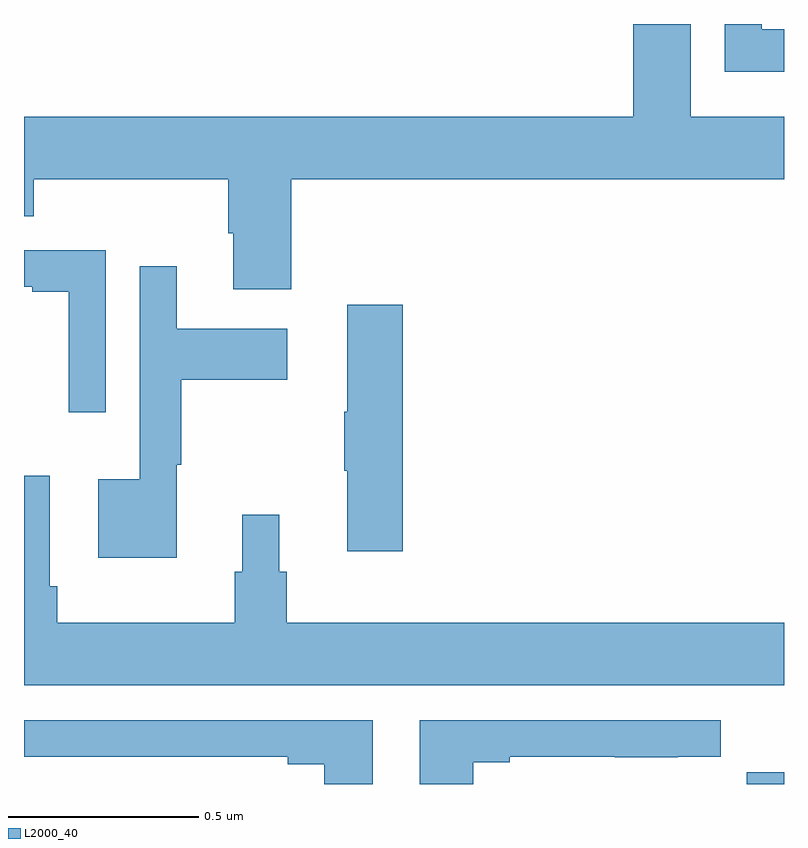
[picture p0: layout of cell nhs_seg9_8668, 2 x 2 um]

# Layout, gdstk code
import gdstk
lib = gdstk.Library(unit=1e-6, precision=1e-09)
def R(c, l, rs):  # rectangles x0, y0, x1, y1
    for r in rs: c.add(gdstk.rectangle(r[:2], r[2:], *l))
def P(c, l, *ps):  # polygons
    for p in ps: c.add(gdstk.Polygon(p, *l))
L2000_40 = (2000, 40)

nhs_seg9_8668 = lib.new_cell('nhs_seg9_8668')
R(nhs_seg9_8668, L2000_40, [(221.902,1189.5,222,1189.531)])
P(nhs_seg9_8668, L2000_40, [(220.703,1191.092),(222,1191.092),(222,1191.256),(221.755,1191.256),(221.755,1191.5),(221.603,1191.5),(221.603,1191.256),(220,1191.256),(220,1190.994),(220.025,1190.994),(220.025,1191.092),(220.538,1191.092),(220.538,1190.95),(220.55,1190.95),(220.55,1190.802),(220.703,1190.802)],
  [(222,1191.486),(221.941,1191.486),(221.941,1191.5),(221.844,1191.5),(221.844,1191.375),(222,1191.375)],
  [(220.215,1190.904),(220,1190.904),(220,1190.808),(220.022,1190.808),(220.022,1190.796),(220.118,1190.796),(220.118,1190.478),(220.215,1190.478)],
  [(220.402,1190.34),(220.414,1190.34),(220.414,1190.564),(220.693,1190.564),(220.693,1190.698),(220.402,1190.698),(220.402,1190.863),(220.305,1190.863),(220.305,1190.302),(220.196,1190.302),(220.196,1190.096),(220.402,1190.096)],
  [(220.997,1190.761),(220.85,1190.761),(220.85,1190.48),(220.843,1190.48),(220.843,1190.324),(220.85,1190.324),(220.85,1190.112),(220.997,1190.112)],
  [(222,1189.924),(220.691,1189.924),(220.691,1190.058),(220.672,1190.058),(220.672,1190.209),(220.574,1190.209),(220.574,1190.058),(220.555,1190.058),(220.555,1189.924),(220.088,1189.924),(220.088,1190.02),(220.068,1190.02),(220.068,1190.311),(220,1190.311),(220,1189.76),(222,1189.76)],
  [(220.918,1189.668),(220,1189.668),(220,1189.572),(220.694,1189.572),(220.694,1189.552),(220.79,1189.552),(220.79,1189.5),(220.918,1189.5)],
  [(221.182,1189.557),(221.278,1189.557),(221.278,1189.572),(221.554,1189.572),(221.554,1189.571),(221.72,1189.571),(221.72,1189.572),(221.833,1189.572),(221.833,1189.668),(221.042,1189.668),(221.042,1189.5),(221.182,1189.5)])

lib.write_gds('nhs_seg9_8668.gds')
